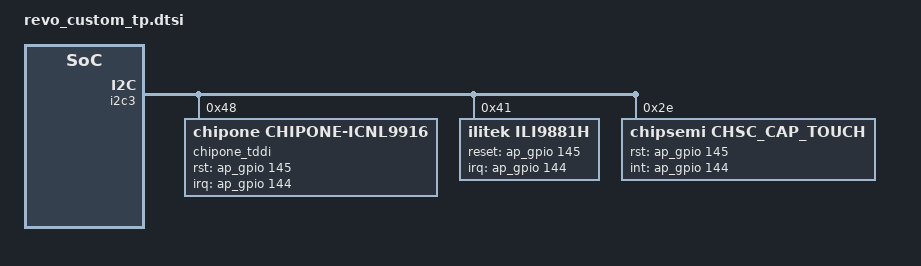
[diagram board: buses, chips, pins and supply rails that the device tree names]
&i2c3 {
	#address-cells = <1>;
	#size-cells = <0>;

	status = "okay";

        chipone_tddi@48 {
                compatible = "chipone,chipone-icnl9916";
                reg = <0x48>;

                chipone,rst-gpio = <&ap_gpio 145 0>;
                chipone,irq-gpio = <&ap_gpio 144 0>;
                chipone,x-res = <720>;
                chipone,y-res = <1600>;
        };

	ilitek@41 {
		compatible = "ilitek,ili9881h","tchip,ilitek";
		reg = <0x41>;
		/*ilitek,ili9881h*/
		reset-gpio = <&ap_gpio 145 0>;
		irq-gpio = <&ap_gpio 144 0>;
		/*tchip,ilitek*/
		touch,reset-gpio = <&ap_gpio 145 0>;
		touch,irq-gpio = <&ap_gpio 144 0>;
	};
	
	chipsemi@2e{
		compatible = "chipsemi,chsc_cap_touch";
		reg = <0x2e>;
		chipsemi,rst-gpio = <&ap_gpio 145 0>;
		chipsemi,int-gpio = <&ap_gpio 144 0>;
	};
};
